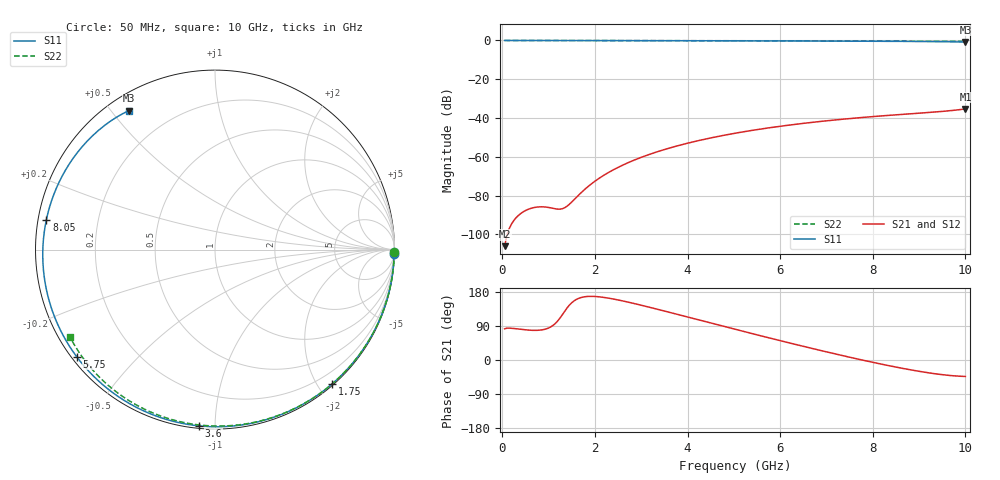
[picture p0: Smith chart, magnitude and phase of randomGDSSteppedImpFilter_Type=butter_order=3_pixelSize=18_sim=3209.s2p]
! freq	dB(S11)	phase(S11)	dB(S12)	phase(S12)
!  dB(S21)	phase(S21)	dB(S22)	phase(S22)
!S-par simulation data
#  GHz  S  DB  R 50
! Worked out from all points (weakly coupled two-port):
!   200 points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, 50 MHz to 10 GHz, reference 50 ohm
!   highest |S21| = -35.30 dB at 10 GHz (marker M1); lowest = -106.1 dB at 50 MHz (marker M2)
!   lowest |S11| = -0.8 dB at 10 GHz (marker M3), VSWR 21.47, Z = 3.05 + j27.7 ohm
!   |S11| at or under -10 dB: nowhere
!   |S22| runs from -0.5 to 0.0 dB; largest |S21 - S12| = 0
!   S11 on the Smith chart (normalised r, x): 50 MHz: 6, -79; 1.75 GHz: 0.02, -2.20; 3.6 GHz: 0.01, -0.91; 5.75 GHz: 0.01, -0.34; 8.05 GHz: 0.02, +0.09; 10 GHz: 0.06, +0.55
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0.05  -0.02 -1.4  -106.14 82.2  -106.14 82.2  -0.00 -0.9
0.4  -0.02 -11.4  -89.26 80.9  -89.26 80.9  -0.01 -6.9
0.8  -0.03 -22.8  -85.86 78.7  -85.86 78.7  -0.02 -13.7
1.6  -0.06 -44.9  -80.94 159.9  -80.94 159.9  -0.03 -27.3
1.65  -0.06 -46.2  -79.75 162.7  -79.75 162.7  -0.04 -28.1
1.75  -0.06 -48.9  -77.49 166.3  -77.49 166.3  -0.04 -29.8
2.05  -0.07 -56.9  -71.79 167.2  -71.79 167.2  -0.05 -34.7
2.45  -0.08 -67.2  -66.09 159.7  -66.09 159.7  -0.05 -41.3
2.9  -0.10 -78.5  -61.24 147.5  -61.24 147.5  -0.06 -48.6
3.4  -0.11 -90.6  -57.02 132.4  -57.02 132.4  -0.08 -56.5
3.6  -0.12 -95.3  -55.58 126.1  -55.58 126.1  -0.08 -59.6
4.3  -0.15 -111.2  -51.33 104.0  -51.33 104.0  -0.10 -70.4
5.05  -0.18 -127.5  -47.77 80.3  -47.77 80.3  -0.13 -81.5
5.75  -0.22 -142.3  -45.11 58.7  -45.11 58.7  -0.15 -91.6
6.7  -0.29 -161.8  -42.23 30.2  -42.23 30.2  -0.20 -104.9
7.4  -0.35 -176.3  -40.53 10.1  -40.53 10.1  -0.25 -114.4
8.05  -0.41 169.9  -39.19 -7.4  -39.19 -7.4  -0.30 -123.1
8.35  -0.44 163.4  -38.64 -15.0  -38.64 -15.0  -0.33 -127.1
8.8  -0.50 153.2  -37.86 -25.6  -37.86 -25.6  -0.37 -133.0
9.25  -0.57 142.4  -37.08 -34.7  -37.08 -34.7  -0.42 -138.9
9.65  -0.67 132.0  -36.29 -40.7  -36.29 -40.7  -0.46 -144.2
10  -0.81 121.8  -35.30 -43.4  -35.30 -43.4  -0.51 -148.8
